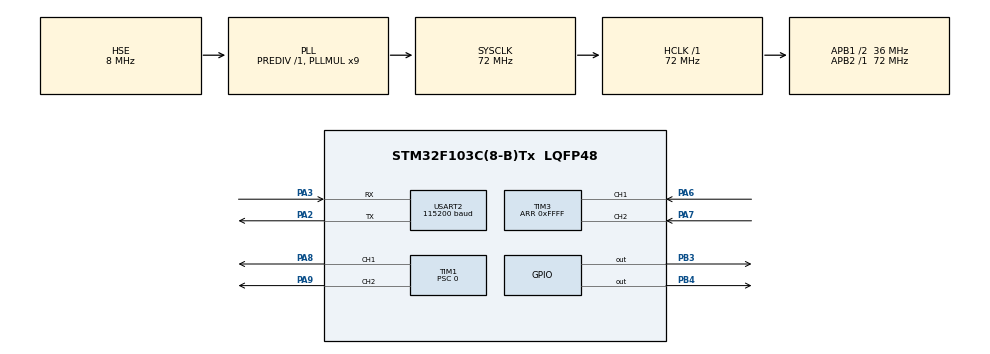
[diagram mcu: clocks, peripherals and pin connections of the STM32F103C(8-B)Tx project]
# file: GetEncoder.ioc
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Mcu.Family=STM32F1
Mcu.Name=STM32F103C(8-B)Tx
Mcu.Package=LQFP48
NVIC.PriorityGroup=NVIC_PRIORITYGROUP_4
PA13.Mode=Serial_Wire
PA13.Signal=SYS_JTMS-SWDIO
PA14.Mode=Serial_Wire
PA14.Signal=SYS_JTCK-SWCLK
PA2.Mode=Asynchronous
PA2.Signal=USART2_TX
PA3.Mode=Asynchronous
PA3.Signal=USART2_RX
PA6.GPIO_PuPd=GPIO_PULLUP
PA6.Signal=S_TIM3_CH1
PA7.GPIO_PuPd=GPIO_PULLUP
PA7.Signal=S_TIM3_CH2
PA8.Signal=S_TIM1_CH1
PA9.Signal=S_TIM1_CH2
PB3.Signal=GPIO_Output
PB4.Signal=GPIO_Output
PD0-OSC_IN.Mode=HSE-External-Oscillator
PD0-OSC_IN.Signal=RCC_OSC_IN
PD1-OSC_OUT.Mode=HSE-External-Oscillator
PD1-OSC_OUT.Signal=RCC_OSC_OUT
ProjectManager.HeapSize=0x200
ProjectManager.StackSize=0x400
ProjectManager.TargetToolchain=MDK-ARM V5.32
RCC.AHBFreq_Value=72000000
RCC.APB1CLKDivider=RCC_HCLK_DIV2
RCC.APB1Freq_Value=36000000
RCC.APB1TimFreq_Value=72000000
RCC.APB2Freq_Value=72000000
RCC.APB2TimFreq_Value=72000000
RCC.HCLKFreq_Value=72000000
RCC.PLLMUL=RCC_PLL_MUL9
RCC.PLLSourceVirtual=RCC_PLLSOURCE_HSE
RCC.SYSCLKFreq_VALUE=72000000
RCC.SYSCLKSource=RCC_SYSCLKSOURCE_PLLCLK
RCC.USBFreq_Value=72000000
SH.S_TIM1_CH1.0=TIM1_CH1,PWM Generation1 CH1
SH.S_TIM1_CH2.0=TIM1_CH2,PWM Generation2 CH2
SH.S_TIM3_CH1.0=TIM3_CH1,Encoder_Interface
SH.S_TIM3_CH2.0=TIM3_CH2,Encoder_Interface
TIM1.Channel-PWM\ Generation1\ CH1=TIM_CHANNEL_1
TIM1.Channel-PWM\ Generation2\ CH2=TIM_CHANNEL_2
TIM1.Period=3599
TIM1.Prescaler=0
TIM1.Pulse-PWM\ Generation1\ CH1=3600
TIM1.Pulse-PWM\ Generation2\ CH2=200
TIM3.EncoderMode=TIM_ENCODERMODE_TI12
TIM3.Period=0xFFFF
USART2.BaudRate=115200
USART2.VirtualMode=VM_ASYNC
VP_TIM2_VS_ClockSourceINT.Mode=Internal
board=custom

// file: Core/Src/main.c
/* USER CODE BEGIN Header */
/**
  ******************************************************************************
  * @file           : main.c
  * @brief          : Main program body
  ******************************************************************************
  * @attention
  *
  * Copyright (c) 2025 STMicroelectronics.
  * All rights reserved.
  *
  * This software is licensed under terms that can be found in the LICENSE file
  * in the root directory of this software component.
  * If no LICENSE file comes with this software, it is provided AS-IS.
  *
  ******************************************************************************
  */
/* USER CODE END Header */
#include "main.h"

/* USER CODE BEGIN Includes */
#include <string.h>
#include <stdio.h>
#include <math.h>
/* USER CODE END Includes */

/* USER CODE BEGIN PTD */
float calculate_RPM(TIM_HandleTypeDef *htim, uint32_t ppr, uint32_t sample_time_ms, uint8_t motor_direction);
void send_UART_Data(UART_HandleTypeDef *huart, uint32_t time_ms, int64_t encoder_count, float rpm);
/* USER CODE END PTD */

/* USER CODE BEGIN PD */
// Biến điều khiển hướng động cơ: 0 = thuận, 1 = nghịch
uint8_t motor_direction = 0;

// Biến lưu giá trị xung PWM (duty cycle)
uint16_t pulse_value = 0; // Giá trị ban đầu, có thể thay đổi

// Biến lưu thời điểm đổi hướng lần cuối
uint32_t last_direction_change = 0;

// Biến đếm từ encoder
int64_t encoder_cnt = 0;

// RPM đầu vào (dựa trên giá trị PWM), RPM đầu ra (từ encoder)
float rpm_in = 0.0f;
float rpm_out = 0.0f;
/* USER CODE END PD */

TIM_HandleTypeDef htim1;
TIM_HandleTypeDef htim2;
TIM_HandleTypeDef htim3;

UART_HandleTypeDef huart2;

void SystemClock_Config(void);
static void MX_GPIO_Init(void);
static void MX_TIM1_Init(void);
static void MX_TIM3_Init(void);
static void MX_USART2_UART_Init(void);
static void MX_TIM2_Init(void);

/* USER CODE BEGIN 0 */

void reverse_direction(uint16_t pulse_value)
{
    // Nếu hướng hiện tại là thuận (0)
    if(motor_direction == 0)
    {
        // Đưa động cơ về hướng nghịch:
        // Ví dụ: tắt PWM kênh 1 và bật PWM kênh 2
        __HAL_TIM_SetCompare(&htim1, TIM_CHANNEL_1, pulse_value);
        __HAL_TIM_SetCompare(&htim1, TIM_CHANNEL_2, 0);
        motor_direction = 1;
    }
    else
    {
        // Nếu hướng hiện tại là nghịch (1), đặt lại về hướng thuận:
        __HAL_TIM_SetCompare(&htim1, TIM_CHANNEL_1, 0);
        __HAL_TIM_SetCompare(&htim1, TIM_CHANNEL_2, pulse_value);
        motor_direction = 0;
    }
}

float calculate_RPM(TIM_HandleTypeDef *htim, uint32_t ppr, uint32_t sample_time_ms, uint8_t motor_direction) {
    static int64_t last_count = 0; // Gi� tr? d?m tru?c d�
    int64_t current_count = __HAL_TIM_GetCounter(htim); // Gi� tr? d?m hi?n t?i
    int64_t delta_count = current_count - last_count; // S? thay d?i s? d?m
    float delta_time = sample_time_ms / 1000.0f; // Chuy?n t? ms sang gi�y
    float cpr = ppr * 4.0f; // S? d?m m?i v�ng (CPR), n?u d�ng c? TI1 v� TI2
    float rpm;

    // T�nh RPM
    rpm = ((delta_count) / cpr) * (60.0f / delta_time);

    // C?p nh?t gi� tr? d?m tru?c d�
    last_count = current_count;
//		if (motor_direction == 1) {
//        rpm = -rpm;
//    }
    return rpm;
}

void send_UART_Data(UART_HandleTypeDef *huart, uint32_t time_ms, int64_t pwm, float rpm) {
    char buffer[100]; // Bộ đệm để chứa chuỗi dữ liệu
    int len;

    // Định dạng chuỗi: "Time: xxx ms, Encoder: xxx, RPM: xxx.xx\r\n"
    len = sprintf(buffer, "%lu,%lld,%.2f\r\n",
                  time_ms, pwm, rpm);

    // Gửi dữ liệu qua UART
    HAL_UART_Transmit(huart, (uint8_t *)buffer, len, HAL_MAX_DELAY);
}

void delay_us(uint16_t us)
{
    __HAL_TIM_SET_COUNTER(&htim2, 0);  // Reset counter
    HAL_TIM_Base_Start(&htim2);        // Start Timer

    while (__HAL_TIM_GET_COUNTER(&htim2) < us);  // Wait until counter reaches 'us'

    HAL_TIM_Base_Stop(&htim2);         // Stop Timer (optional)
}

void delay_ms(uint16_t ms)
{
    while (ms--)
    {
        delay_us(1000);
    }
}

void check_and_toggle_direction(uint16_t pulse_value)
{
    uint32_t current_time = HAL_GetTick(); // Lấy thời gian hiện tại (ms)

    // Kiểm tra nếu đã trôi qua 5000ms kể từ lần đổi hướng cuối cùng
    if(current_time - last_direction_change >= 5000)
    {
        reverse_direction(pulse_value);
        last_direction_change = current_time;
    }
}

float calculate_RPM_from_pulse(uint16_t pulse_value, uint8_t motor_direction) {
    float rpm = (55.0f / 3600.0f) * pulse_value;
    // Nếu motor_direction = 0 (quay nghịch) thì rpm âm
    if (motor_direction == 0) {
        rpm = -rpm;
    }
    return rpm;
}

/* USER CODE END 0 */

int main(void)
{

  /* USER CODE BEGIN 1 */
uint8_t flag = 1;
  /* USER CODE END 1 */

  /* MCU Configuration--------------------------------------------------------*/

  /* Reset of all peripherals, Initializes the Flash interface and the Systick. */
  HAL_Init();

  /* Configure the system clock */
  SystemClock_Config();

  /* Initialize all configured peripherals */
  MX_GPIO_Init();
  MX_TIM1_Init();
  MX_TIM3_Init();
  MX_USART2_UART_Init();
  MX_TIM2_Init();
  /* USER CODE BEGIN 2 */

	HAL_TIM_PWM_Start(&htim1, TIM_CHANNEL_1);
	HAL_TIM_PWM_Start(&htim1, TIM_CHANNEL_2);

	HAL_TIM_Encoder_Start(&htim3, TIM_CHANNEL_1 | TIM_CHANNEL_2);

	__HAL_TIM_SET_COUNTER(&htim3, 0);

	HAL_GPIO_WritePin(GPIOB, GPIO_PIN_3 , GPIO_PIN_SET);
	HAL_GPIO_WritePin(GPIOB, GPIO_PIN_4 , GPIO_PIN_SET);

//	__HAL_TIM_SetCompare(&htim1, TIM_CHANNEL_1, 0);
//	__HAL_TIM_SetCompare(&htim1, TIM_CHANNEL_2, 0);
  /* USER CODE END 2 */

  /* Infinite loop */
  /* USER CODE BEGIN WHILE */
  while (1)
  {
		static uint32_t time_ms = 0; // Biến đếm thời gian
    HAL_Delay(10); // Lấy mẫu mỗi 100ms
		pulse_value += 10;
		check_and_toggle_direction(pulse_value);

    encoder_cnt = __HAL_TIM_GetCounter(&htim3);
		rpm_in = calculate_RPM_from_pulse(pulse_value, motor_direction);
    rpm_out = calculate_RPM(&htim3, 400, 10, motor_direction); // PPR = 1000, mẫu 100ms
    send_UART_Data(&huart2, time_ms, rpm_in, rpm_out); // Gửi dữ liệu qua UART
    time_ms += 10; // Tăng thời gian
//		HAL_UART_Transmit(&huart2, (uint8_t *)"Test UART\r\n", 11, 1000);
//    HAL_Delay(1000);
    /* USER CODE END WHILE */

  }
}

void SystemClock_Config(void)
{
  RCC_OscInitTypeDef RCC_OscInitStruct = {0};
  RCC_ClkInitTypeDef RCC_ClkInitStruct = {0};

  /** Initializes the RCC Oscillators according to the specified parameters
  * in the RCC_OscInitTypeDef structure.
  */
  RCC_OscInitStruct.OscillatorType = RCC_OSCILLATORTYPE_HSE;
  RCC_OscInitStruct.HSEState = RCC_HSE_ON;
  RCC_OscInitStruct.HSEPredivValue = RCC_HSE_PREDIV_DIV1;
  RCC_OscInitStruct.HSIState = RCC_HSI_ON;
  RCC_OscInitStruct.PLL.PLLState = RCC_PLL_ON;
  RCC_OscInitStruct.PLL.PLLSource = RCC_PLLSOURCE_HSE;
  RCC_OscInitStruct.PLL.PLLMUL = RCC_PLL_MUL9;
  if (HAL_RCC_OscConfig(&RCC_OscInitStruct) != HAL_OK)
  {
    Error_Handler();
  }

  /** Initializes the CPU, AHB and APB buses clocks
  */
  RCC_ClkInitStruct.ClockType = RCC_CLOCKTYPE_HCLK|RCC_CLOCKTYPE_SYSCLK
                              |RCC_CLOCKTYPE_PCLK1|RCC_CLOCKTYPE_PCLK2;
  RCC_ClkInitStruct.SYSCLKSource = RCC_SYSCLKSOURCE_PLLCLK;
  RCC_ClkInitStruct.AHBCLKDivider = RCC_SYSCLK_DIV1;
  RCC_ClkInitStruct.APB1CLKDivider = RCC_HCLK_DIV2;
  RCC_ClkInitStruct.APB2CLKDivider = RCC_HCLK_DIV1;

  if (HAL_RCC_ClockConfig(&RCC_ClkInitStruct, FLASH_LATENCY_2) != HAL_OK)
  {
    Error_Handler();
  }
}

static void MX_TIM1_Init(void)
{

  TIM_MasterConfigTypeDef sMasterConfig = {0};
  TIM_OC_InitTypeDef sConfigOC = {0};
  TIM_BreakDeadTimeConfigTypeDef sBreakDeadTimeConfig = {0};

  htim1.Instance = TIM1;
  htim1.Init.Prescaler = 0;
  htim1.Init.CounterMode = TIM_COUNTERMODE_UP;
  htim1.Init.Period = 3599;
  htim1.Init.ClockDivision = TIM_CLOCKDIVISION_DIV1;
  htim1.Init.RepetitionCounter = 0;
  htim1.Init.AutoReloadPreload = TIM_AUTORELOAD_PRELOAD_DISABLE;
  if (HAL_TIM_PWM_Init(&htim1) != HAL_OK)
  {
    Error_Handler();
  }
  sMasterConfig.MasterOutputTrigger = TIM_TRGO_RESET;
  sMasterConfig.MasterSlaveMode = TIM_MASTERSLAVEMODE_DISABLE;
  if (HAL_TIMEx_MasterConfigSynchronization(&htim1, &sMasterConfig) != HAL_OK)
  {
    Error_Handler();
  }
  sConfigOC.OCMode = TIM_OCMODE_PWM1;
  sConfigOC.Pulse = 3600;
  sConfigOC.OCPolarity = TIM_OCPOLARITY_HIGH;
  sConfigOC.OCNPolarity = TIM_OCNPOLARITY_HIGH;
  sConfigOC.OCFastMode = TIM_OCFAST_DISABLE;
  sConfigOC.OCIdleState = TIM_OCIDLESTATE_RESET;
  sConfigOC.OCNIdleState = TIM_OCNIDLESTATE_RESET;
  if (HAL_TIM_PWM_ConfigChannel(&htim1, &sConfigOC, TIM_CHANNEL_1) != HAL_OK)
  {
    Error_Handler();
  }
  sConfigOC.Pulse = 200;
  if (HAL_TIM_PWM_ConfigChannel(&htim1, &sConfigOC, TIM_CHANNEL_2) != HAL_OK)
  {
    Error_Handler();
  }
  sBreakDeadTimeConfig.OffStateRunMode = TIM_OSSR_DISABLE;
  sBreakDeadTimeConfig.OffStateIDLEMode = TIM_OSSI_DISABLE;
  sBreakDeadTimeConfig.LockLevel = TIM_LOCKLEVEL_OFF;
  sBreakDeadTimeConfig.DeadTime = 0;
  sBreakDeadTimeConfig.BreakState = TIM_BREAK_DISABLE;
  sBreakDeadTimeConfig.BreakPolarity = TIM_BREAKPOLARITY_HIGH;
  sBreakDeadTimeConfig.AutomaticOutput = TIM_AUTOMATICOUTPUT_DISABLE;
  if (HAL_TIMEx_ConfigBreakDeadTime(&htim1, &sBreakDeadTimeConfig) != HAL_OK)
  {
    Error_Handler();
  }
  HAL_TIM_MspPostInit(&htim1);

}

static void MX_TIM2_Init(void)
{

  TIM_ClockConfigTypeDef sClockSourceConfig = {0};
  TIM_MasterConfigTypeDef sMasterConfig = {0};

  htim2.Instance = TIM2;
  htim2.Init.Prescaler = 0;
  htim2.Init.CounterMode = TIM_COUNTERMODE_UP;
  htim2.Init.Period = 65535;
  htim2.Init.ClockDivision = TIM_CLOCKDIVISION_DIV1;
  htim2.Init.AutoReloadPreload = TIM_AUTORELOAD_PRELOAD_DISABLE;
  if (HAL_TIM_Base_Init(&htim2) != HAL_OK)
  {
    Error_Handler();
  }
  sClockSourceConfig.ClockSource = TIM_CLOCKSOURCE_INTERNAL;
  if (HAL_TIM_ConfigClockSource(&htim2, &sClockSourceConfig) != HAL_OK)
  {
    Error_Handler();
  }
  sMasterConfig.MasterOutputTrigger = TIM_TRGO_RESET;
  sMasterConfig.MasterSlaveMode = TIM_MASTERSLAVEMODE_DISABLE;
  if (HAL_TIMEx_MasterConfigSynchronization(&htim2, &sMasterConfig) != HAL_OK)
  {
    Error_Handler();
  }

}

static void MX_TIM3_Init(void)
{

  TIM_Encoder_InitTypeDef sConfig = {0};
  TIM_MasterConfigTypeDef sMasterConfig = {0};

  htim3.Instance = TIM3;
  htim3.Init.Prescaler = 0;
  htim3.Init.CounterMode = TIM_COUNTERMODE_UP;
  htim3.Init.Period = 0xFFFF;
  htim3.Init.ClockDivision = TIM_CLOCKDIVISION_DIV1;
  htim3.Init.AutoReloadPreload = TIM_AUTORELOAD_PRELOAD_DISABLE;
  sConfig.EncoderMode = TIM_ENCODERMODE_TI12;
  sConfig.IC1Polarity = TIM_ICPOLARITY_RISING;
  sConfig.IC1Selection = TIM_ICSELECTION_DIRECTTI;
  sConfig.IC1Prescaler = TIM_ICPSC_DIV1;
  sConfig.IC1Filter = 0;
  sConfig.IC2Polarity = TIM_ICPOLARITY_RISING;
  sConfig.IC2Selection = TIM_ICSELECTION_DIRECTTI;
  sConfig.IC2Prescaler = TIM_ICPSC_DIV1;
  sConfig.IC2Filter = 0;
  if (HAL_TIM_Encoder_Init(&htim3, &sConfig) != HAL_OK)
  {
    Error_Handler();
  }
  sMasterConfig.MasterOutputTrigger = TIM_TRGO_RESET;
  sMasterConfig.MasterSlaveMode = TIM_MASTERSLAVEMODE_DISABLE;
  if (HAL_TIMEx_MasterConfigSynchronization(&htim3, &sMasterConfig) != HAL_OK)
  {
    Error_Handler();
  }

}

static void MX_USART2_UART_Init(void)
{

  huart2.Instance = USART2;
  huart2.Init.BaudRate = 115200;
  huart2.Init.WordLength = UART_WORDLENGTH_8B;
  huart2.Init.StopBits = UART_STOPBITS_1;
  huart2.Init.Parity = UART_PARITY_NONE;
  huart2.Init.Mode = UART_MODE_TX_RX;
  huart2.Init.HwFlowCtl = UART_HWCONTROL_NONE;
  huart2.Init.OverSampling = UART_OVERSAMPLING_16;
  if (HAL_UART_Init(&huart2) != HAL_OK)
  {
    Error_Handler();
  }

}

static void MX_GPIO_Init(void)
{
  GPIO_InitTypeDef GPIO_InitStruct = {0};

  /* GPIO Ports Clock Enable */
  __HAL_RCC_GPIOD_CLK_ENABLE();
  __HAL_RCC_GPIOA_CLK_ENABLE();
  __HAL_RCC_GPIOB_CLK_ENABLE();

  /*Configure GPIO pin Output Level */
  HAL_GPIO_WritePin(GPIOB, GPIO_PIN_3|GPIO_PIN_4, GPIO_PIN_RESET);

  /*Configure GPIO pins : PB3 PB4 */
  GPIO_InitStruct.Pin = GPIO_PIN_3|GPIO_PIN_4;
  GPIO_InitStruct.Mode = GPIO_MODE_OUTPUT_PP;
  GPIO_InitStruct.Pull = GPIO_NOPULL;
  GPIO_InitStruct.Speed = GPIO_SPEED_FREQ_LOW;
  HAL_GPIO_Init(GPIOB, &GPIO_InitStruct);

}

void Error_Handler(void)
{
  __disable_irq();
  while (1)
  {
  }
}
